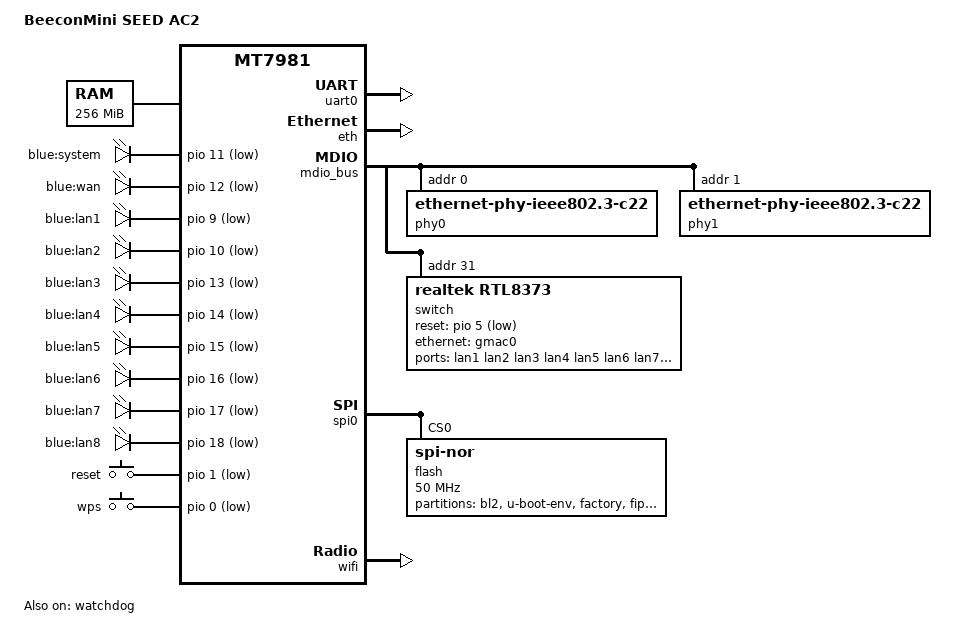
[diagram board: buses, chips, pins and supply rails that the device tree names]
// SPDX-License-Identifier: GPL-2.0-or-later OR MIT
/dts-v1/;

#include "mt7981b.dtsi"

/ {
	model = "BeeconMini SEED AC2";
	compatible = "beeconmini,seed-ac2", "mediatek,mt7981";

	chosen {
		bootargs = "console=ttyS0,115200n1 loglevel=8 earlycon=uart8250,mmio32,0x11002000";
	};

	memory {
		reg = <0 0x40000000 0 0x10000000>;
	};

	leds {
		compatible = "gpio-leds";

		led_system: system {
			label = "blue:system";
			gpios = <&pio 11 GPIO_ACTIVE_LOW>;
			default-state = "on";
		};

		led_wan: wan {
			label = "blue:wan";
			gpios = <&pio 12 GPIO_ACTIVE_LOW>;
		};

		led_lan1: lan1 {
			label = "blue:lan1";
			gpios = <&pio 9 GPIO_ACTIVE_LOW>;
		};

		led_lan2: lan2 {
			label = "blue:lan2";
			gpios = <&pio 10 GPIO_ACTIVE_LOW>;
		};
				led_lan3: lan3 {
			label = "blue:lan3";
			gpios = <&pio 13 GPIO_ACTIVE_LOW>;
		};

		led_lan4: lan4 {
			label = "blue:lan4";
			gpios = <&pio 14 GPIO_ACTIVE_LOW>;
		};

		led_lan5: lan5 {
			label = "blue:lan5";
			gpios = <&pio 15 GPIO_ACTIVE_LOW>;
		};

		led_lan6: lan6 {
			label = "blue:lan6";
			gpios = <&pio 16 GPIO_ACTIVE_LOW>;
		};

		led_lan7: lan7 {
			label = "blue:lan7";
			gpios = <&pio 17 GPIO_ACTIVE_LOW>;
		};

		led_lan8: lan8 {
			label = "blue:lan8";
			gpios = <&pio 18 GPIO_ACTIVE_LOW>;
		};
	};

	gpio-keys {
		compatible = "gpio-keys";

		reset {
			label = "reset";
			gpios = <&pio 1 GPIO_ACTIVE_LOW>;
			linux,code = <KEY_RESTART>;
		};

		wps {
			label = "wps";
			gpios = <&pio 0 GPIO_ACTIVE_LOW>;
			linux,code = <KEY_WPS_BUTTON>;
		};
	};
};

&uart0 {
	status = "okay";
};

&watchdog {
	status = "okay";
};

&eth {
	status = "okay";

	gmac0: mac@0 {
		compatible = "mediatek,eth-mac";
		reg = <0>;
		phy-mode = "2500base-x";
		phy-handle = <&phy0>;
	};

	gmac1: mac@1 {
		compatible = "mediatek,eth-mac";
		reg = <1>;
		phy-mode = "2500base-x";
		phy-handle = <&phy1>;
	};
};

&mdio_bus {
	phy0: ethernet-phy@0 {
		reg = <0>;
		compatible = "ethernet-phy-ieee802.3-c22";
	};

	phy1: ethernet-phy@1 {
		reg = <1>;
		compatible = "ethernet-phy-ieee802.3-c22";
	};

	switch: switch@1f {
		compatible = "realtek,rtl8373";
		reg = <0x1f>;
		reset-gpios = <&pio 5 GPIO_ACTIVE_LOW>;

		ports {
			#address-cells = <1>;
			#size-cells = <0>;

			port@0 {
				reg = <0>;
				label = "lan1";
			};

			port@1 {
				reg = <1>;
				label = "lan2";
			};

			port@2 {
				reg = <2>;
				label = "lan3";
			};

			port@3 {
				reg = <3>;
				label = "lan4";
			};

			port@4 {
				reg = <4>;
				label = "lan5";
			};

			port@5 {
				reg = <5>;
				label = "lan6";
			};

			port@6 {
				reg = <6>;
				label = "lan7";
			};

			port@7 {
				reg = <7>;
				label = "lan8";
			};

			port@8 {
				reg = <8>;
				label = "cpu";
				ethernet = <&gmac0>;
				phy-mode = "rgmii";

				fixed-link {
					speed = <2500>;
					full-duplex;
					pause;
				};
			};
		};
	};
};

&switch {
	status = "okay";
};

&spi0 {
	status = "okay";

	flash@0 {
		compatible = "jedec,spi-nor";
		reg = <0>;
		spi-max-frequency = <50000000>;

		partitions {
			compatible = "fixed-partitions";
			#address-cells = <1>;
			#size-cells = <1>;

			partition@0 {
				label = "bl2";
				reg = <0x00000 0x40000>;
				read-only;
			};

			partition@40000 {
				label = "u-boot-env";
				reg = <0x40000 0x10000>;
			};

			factory: partition@50000 {
				label = "factory";
				reg = <0x50000 0x40000>;
				read-only;
			};

			partition@90000 {
				label = "fip";
				reg = <0x90000 0x80000>;
				read-only;
			};

			partition@110000 {
				compatible = "denx,uimage";
				label = "firmware";
				reg = <0x110000 0xef0000>;
			};
		};
	};
};

&wifi {
	status = "okay";

	mediatek,mtd-eeprom = <&factory 0x0>;
};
